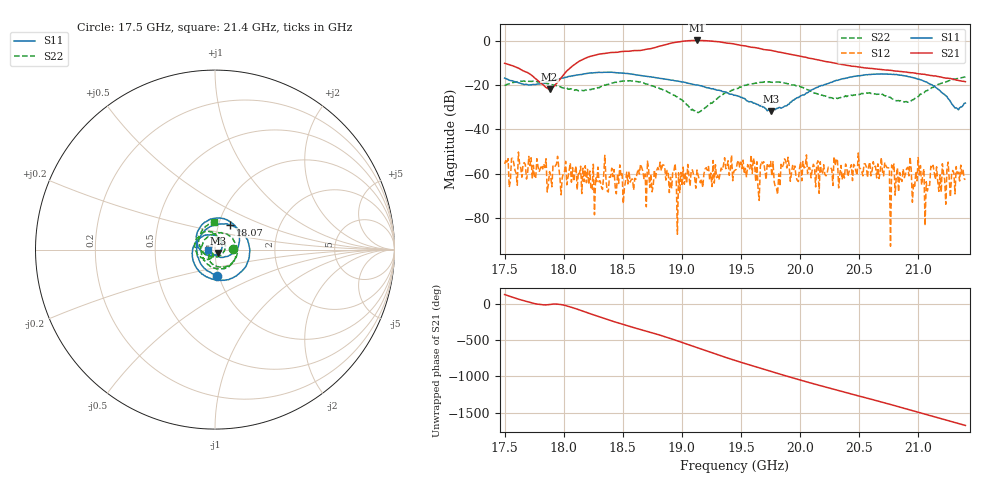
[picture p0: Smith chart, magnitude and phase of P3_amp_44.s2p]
!Created with skrf (http://scikit-rf.org).
# GHz S RI R 50.0
!freq ReS11 ImS11 ReS21 ImS21 ReS12 ImS12 ReS22 ImS22
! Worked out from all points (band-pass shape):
!   401 points, 17.5 GHz to 21.4 GHz, reference 50 ohm
!   highest |S21| = 0.18 dB at 19.13 GHz (marker M1); lowest = -21.7 dB at 17.88 GHz (marker M2)
!   |S21| within 3 dB of the highest: 18.78 GHz to 19.58 GHz (796.3 MHz wide, 4.15 % of centre)
!   lowest |S11| = -31.7 dB at 19.75 GHz (marker M3), VSWR 1.05, Z = 51.8 - j1.97 ohm
!   |S11| at or under -10 dB: start of sweep to end of sweep
!   |S22| runs from -32.4 to -16.3 dB; largest |S21 - S12| = 1
!   S11 on the Smith chart (normalised r, x): 17.5 GHz: 0.98, -0.29; 18.07 GHz: 1.13, +0.32; 21.4 GHz: 0.92, -0.00
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17.5  0.00865 -0.1443  -0.1757 0.2577  -0.0016 0.000472  0.0978 0.0021
17.88025  -0.0516 0.1117  0.08 -0.0191  2.91e-05 0.00112  0.00235 -0.1053
17.929  -0.0213 0.1302  0.1015 -0.0108  0.00109 0.00102  -0.0217 -0.0969
18.0655  0.0824 0.139  0.1625 -0.1998  2.03e-05 0.000646  -0.0738 -0.0365
18.15325  0.1399 0.1039  -0.056 -0.3673  2.53e-05 -0.000356  -0.0742 0.0185
18.319  0.1921 -0.0235  -0.5008 0.1019  -6.36e-05 -0.000505  0.00998 0.0931
18.4945  0.1123 -0.1494  0.1163 0.564  -0.00103 -0.000203  0.1216 0.0167
18.66025  -0.0211 -0.1626  0.615 -0.011  0.000359 -0.00133  0.0669 -0.0929
18.8065  -0.1056 -0.0971  0.2691 -0.7043  9.54e-06 -0.00124  -0.00924 -0.0857
18.904  -0.126 -0.0327  -0.4357 -0.7631  -0.00031 -0.000769  -0.0307 -0.0567
19.0015  -0.1152 0.0259  -0.9742 -0.1  -8.29e-05 0.000523  -0.0343 -0.0316
19.12825  -0.0658 0.0765  -0.4195 0.9314  -0.000863 0.000852  -0.015 -0.0197
19.294  0.000946 0.0774  0.8948 0.367  0.000516 0.000633  -0.0191 -0.0443
19.45  0.035 0.048  0.4072 -0.7355  0.00119 -0.000188  -0.0659 -0.0486
19.61575  0.0382 0.00916  -0.5713 -0.4179  0.00169 0.000225  -0.1099 0.00258
19.75225  0.0177 -0.019  -0.5229 0.3179  0.0013 -0.00138  -0.0963 0.0661
19.81075  0.00654 -0.0292  -0.2877 0.4864  0.000158 -0.000301  -0.0755 0.09
19.879  -0.0109 -0.0321  0.0183 0.5208  0.00191 -0.000362  -0.0478 0.0993
20.10325  -0.079 -0.007  0.3805 -0.1096  0.000853 -0.000873  0.012 0.0677
20.43475  -0.0774 0.132  -0.2561 -0.0822  -0.000205 0.00159  0.0145 0.0579
20.7565  0.0859 0.155  0.1137 0.1846  0.000138 0.00135  0.0534 -0.0043
21.4  -0.0393 -0.00129  -0.0704 0.097  -0.000456 -0.00058  -0.00798 0.1537
